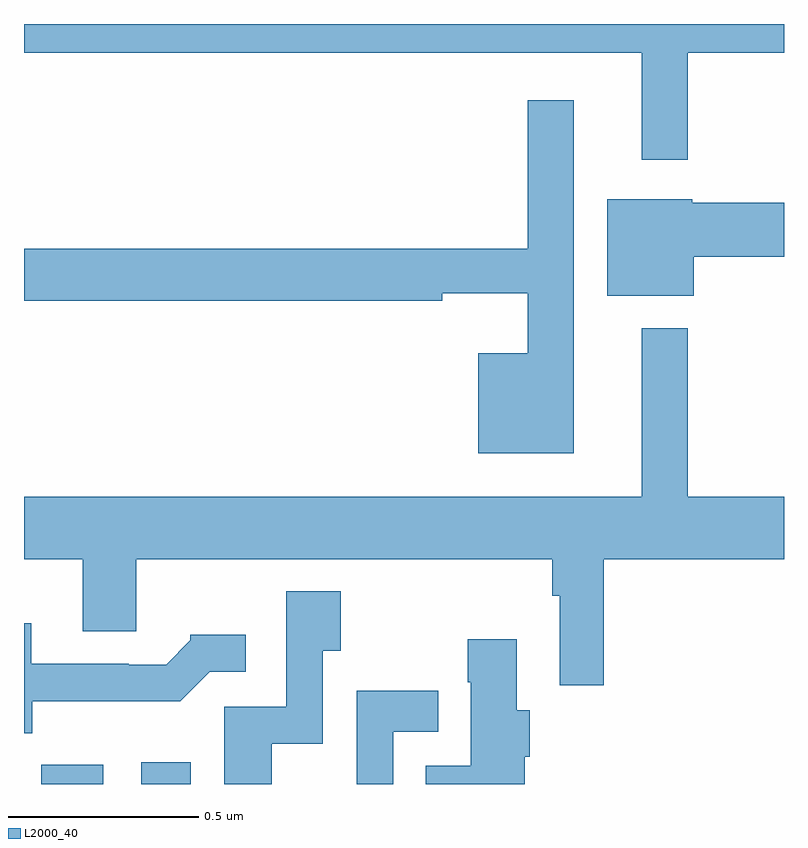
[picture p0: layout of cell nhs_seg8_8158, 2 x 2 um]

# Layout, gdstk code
import gdstk
lib = gdstk.Library(unit=1e-6, precision=1e-09)
def R(c, l, rs):  # rectangles x0, y0, x1, y1
    for r in rs: c.add(gdstk.rectangle(r[:2], r[2:], *l))
def P(c, l, *ps):  # polygons
    for p in ps: c.add(gdstk.Polygon(p, *l))
L2000_40 = (2000, 40)

nhs_seg8_8158 = lib.new_cell('nhs_seg8_8158')
R(nhs_seg8_8158, L2000_40, [(219.046,1123.9,219.208,1123.951), (219.308,1123.9,219.439,1123.957)])
P(nhs_seg8_8158, L2000_40, [(220.747,1125.824),(221,1125.824),(221,1125.9),(219,1125.9),(219,1125.824),(220.625,1125.824),(220.625,1125.543),(220.747,1125.543)],
  [(220.447,1125.7),(220.326,1125.7),(220.326,1125.308),(219,1125.308),(219,1125.172),(220.1,1125.172),(220.1,1125.191),(220.326,1125.191),(220.326,1125.034),(220.196,1125.034),(220.196,1124.771),(220.447,1124.771)],
  [(220.762,1125.287),(221,1125.287),(221,1125.429),(220.758,1125.429),(220.758,1125.439),(220.535,1125.439),(220.535,1125.185),(220.762,1125.185)],
  [(220.526,1124.492),(221,1124.492),(221,1124.656),(220.747,1124.656),(220.747,1125.1),(220.625,1125.1),(220.625,1124.656),(219,1124.656),(219,1124.492),(219.155,1124.492),(219.155,1124.302),(219.295,1124.302),(219.295,1124.492),(220.39,1124.492),(220.39,1124.396),(220.41,1124.396),(220.41,1124.16),(220.526,1124.16)],
  [(219.652,1124.006),(219.786,1124.006),(219.786,1124.251),(219.834,1124.251),(219.834,1124.407),(219.69,1124.407),(219.69,1124.103),(219.527,1124.103),(219.527,1123.9),(219.652,1123.9)],
  [(219.022,1124.118),(219.411,1124.118),(219.489,1124.196),(219.583,1124.196),(219.583,1124.293),(219.438,1124.293),(219.438,1124.278),(219.374,1124.214),(219.275,1124.214),(219.275,1124.217),(219.019,1124.217),(219.019,1124.323),(219,1124.323),(219,1124.033),(219.022,1124.033)],
  [(220.318,1123.972),(220.331,1123.972),(220.331,1124.094),(220.297,1124.094),(220.297,1124.281),(220.168,1124.281),(220.168,1124.168),(220.175,1124.168),(220.175,1123.948),(220.057,1123.948),(220.057,1123.9),(220.318,1123.9)],
  [(219.972,1124.037),(220.09,1124.037),(220.09,1124.146),(219.876,1124.146),(219.876,1123.9),(219.972,1123.9)])

lib.write_gds('nhs_seg8_8158.gds')
